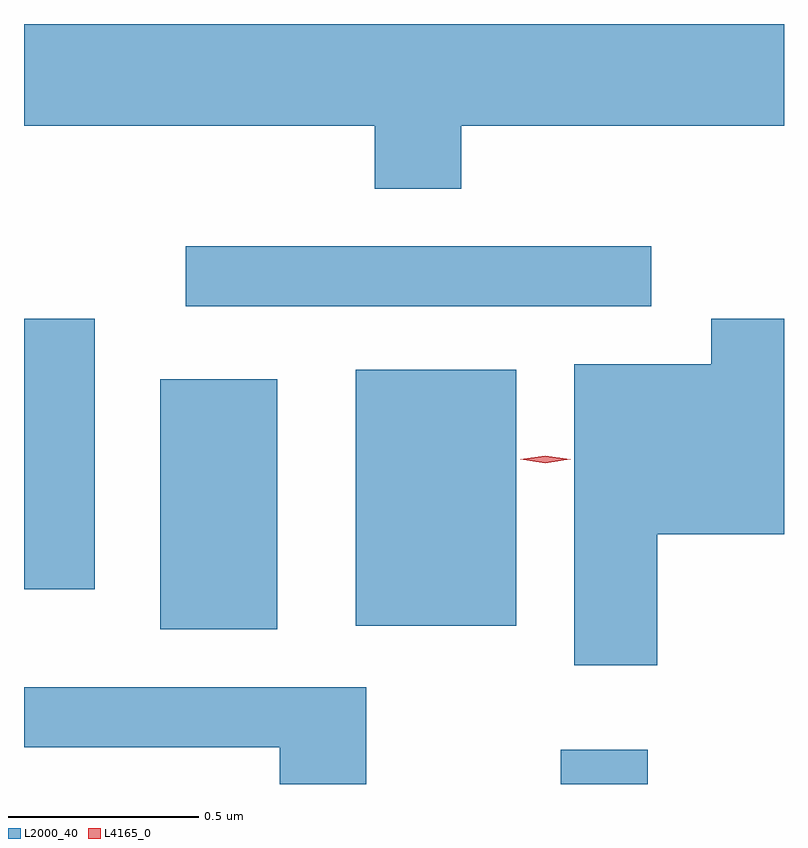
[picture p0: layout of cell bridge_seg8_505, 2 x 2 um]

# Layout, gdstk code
import gdstk
lib = gdstk.Library(unit=1e-6, precision=1e-09)
def R(c, l, rs):  # rectangles x0, y0, x1, y1
    for r in rs: c.add(gdstk.rectangle(r[:2], r[2:], *l))
def P(c, l, *ps):  # polygons
    for p in ps: c.add(gdstk.Polygon(p, *l))
L2000_40 = (2000, 40)
L4165_0 = (4165, 0)

bridge_seg8_505 = lib.new_cell('bridge_seg8_505')
R(bridge_seg8_505, L2000_40, [(411.341,1879.084,411.569,1879.174), (410.286,1879.491,410.594,1880.149), (410.801,1879.501,411.224,1880.174), (409.928,1879.596,410.114,1880.309), (410.353,1880.341,411.578,1880.499)])
P(bridge_seg8_505, L2000_40, [(411.079,1880.816),(411.928,1880.816),(411.928,1881.084),(409.928,1881.084),(409.928,1880.816),(410.851,1880.816),(410.851,1880.651),(411.079,1880.651)],
  [(411.594,1879.741),(411.928,1879.741),(411.928,1880.309),(411.736,1880.309),(411.736,1880.189),(411.376,1880.189),(411.376,1879.396),(411.594,1879.396)],
  [(410.829,1879.339),(409.928,1879.339),(409.928,1879.181),(410.601,1879.181),(410.601,1879.084),(410.829,1879.084)])
P(bridge_seg8_505, L4165_0, [(411.3,1879.928),(411.234,1879.938),(411.233,1879.938),(411.234,1879.939),(411.3,1879.948),(411.366,1879.939),(411.367,1879.938),(411.366,1879.938)])

lib.write_gds('bridge_seg8_505.gds')
